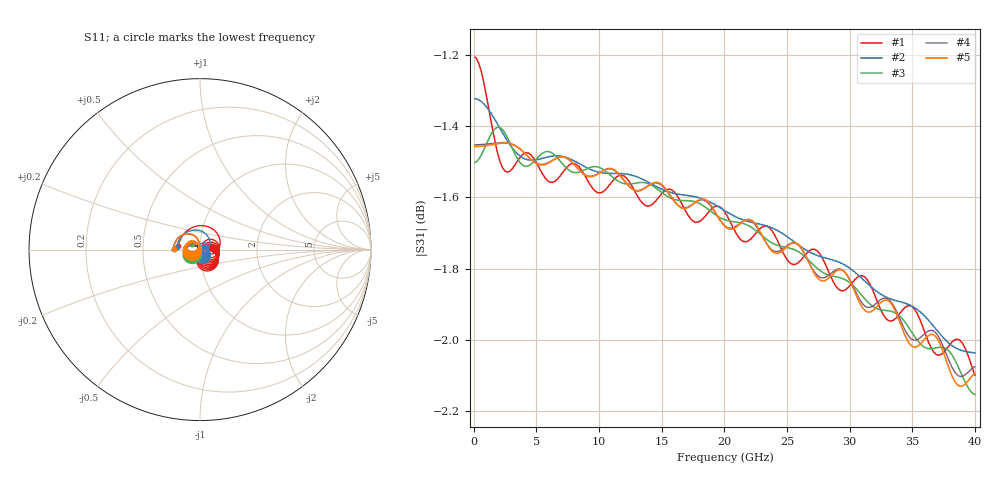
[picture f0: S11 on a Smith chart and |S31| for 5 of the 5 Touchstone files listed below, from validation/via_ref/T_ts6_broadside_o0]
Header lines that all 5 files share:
! T_ts6_broadside_o0: Broadside: In2 over In3 across the 0.93 mm core, lateral offset 0 mm, 20 mm
! stackup: ThunderScope Rev5.3 6-layer (FR408HR / FR-4, from the board file)
! ports: 1 near A, 2 near B, 3 far A, 4 far B
# Hz S RI R 50
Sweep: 100 MHz to 40 GHz
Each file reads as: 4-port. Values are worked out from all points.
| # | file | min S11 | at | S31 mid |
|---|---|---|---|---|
| 1 | cst.s4p | -36.3 dB | 7.8 GHz | -1.6 dB at 20.1 GHz |
| 2 | cst_fine.s4p | -77.4 dB | 27.6 GHz | -1.6 dB at 20.1 GHz |
| 3 | kisi.s4p | -57.3 dB | 22.1 GHz | -1.7 dB at 20.1 GHz |
| 4 | openems.s4p | -56.3 dB | 25.9 GHz | -1.7 dB at 20.1 GHz |
| 5 | openems_base.s4p | -50.5 dB | 22.2 GHz | -1.7 dB at 20.1 GHz |
